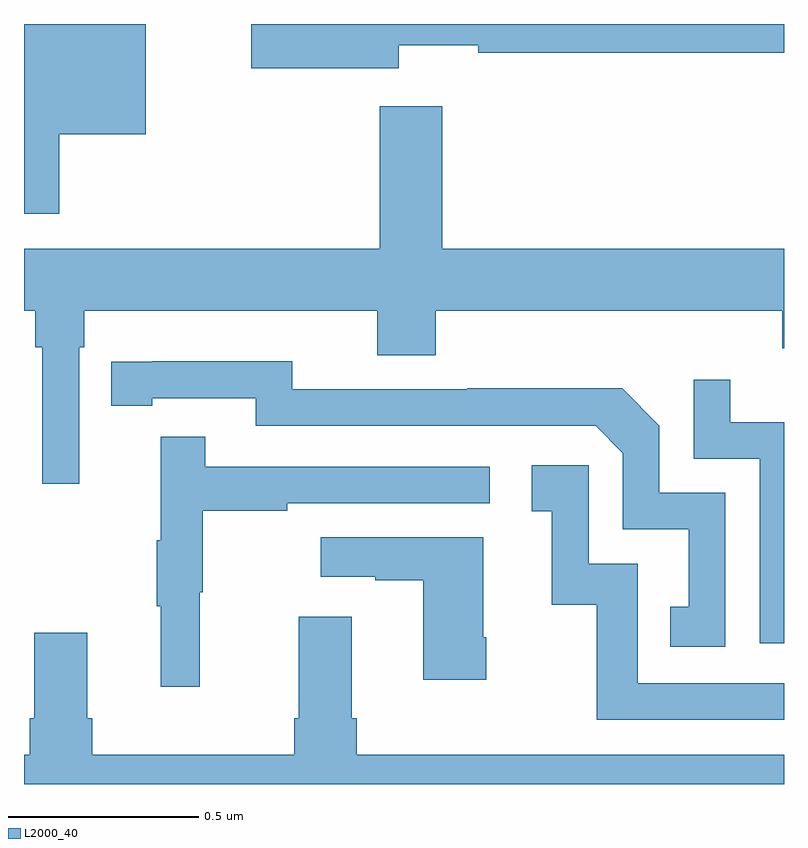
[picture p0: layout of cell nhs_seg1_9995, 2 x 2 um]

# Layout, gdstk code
import gdstk
lib = gdstk.Library(unit=1e-6, precision=1e-09)
def P(c, l, *ps):  # polygons
    for p in ps: c.add(gdstk.Polygon(p, *l))
L2000_40 = (2000, 40)

nhs_seg1_9995 = lib.new_cell('nhs_seg1_9995')
P(nhs_seg1_9995, L2000_40, [(236.986,507.143),(237.196,507.143),(237.196,507.124),(238,507.124),(238,507.199),(236.598,507.199),(236.598,507.082),(236.986,507.082)],
  [(236.093,506.909),(236.32,506.909),(236.32,507.199),(236,507.199),(236,506.7),(236.093,506.7)],
  [(236.145,506.348),(236.159,506.348),(236.159,506.444),(236.93,506.444),(236.93,506.327),(237.083,506.327),(237.083,506.444),(237.995,506.444),(237.995,506.346),(238,506.346),(238,506.608),(237.1,506.608),(237.1,506.983),(236.936,506.983),(236.936,506.608),(236,506.608),(236,506.444),(236.029,506.444),(236.029,506.348),(236.048,506.348),(236.048,505.989),(236.145,505.989)],
  [(237.846,505.965),(237.672,505.965),(237.672,506.142),(237.574,506.24),(237.166,506.24),(237.166,506.238),(236.706,506.238),(236.706,506.311),(236.338,506.311),(236.338,506.31),(236.23,506.31),(236.23,506.194),(236.338,506.194),(236.338,506.214),(236.61,506.214),(236.61,506.142),(237.504,506.142),(237.576,506.07),(237.576,505.869),(237.749,505.869),(237.749,505.665),(237.7,505.665),(237.7,505.56),(237.846,505.56)],
  [(238,506.151),(237.859,506.151),(237.859,506.263),(237.762,506.263),(237.762,506.055),(237.936,506.055),(237.936,505.569),(238,505.569)],
  [(236.462,505.704),(236.47,505.704),(236.47,505.918),(236.693,505.918),(236.693,505.938),(237.226,505.938),(237.226,506.034),(236.477,506.034),(236.477,506.113),(236.36,506.113),(236.36,505.841),(236.349,505.841),(236.349,505.667),(236.36,505.667),(236.36,505.455),(236.462,505.455)],
  [(238,505.464),(237.615,505.464),(237.615,505.779),(237.486,505.779),(237.486,506.038),(237.336,506.038),(237.336,505.917),(237.389,505.917),(237.389,505.671),(237.507,505.671),(237.507,505.368),(238,505.368)],
  [(237.216,505.585),(237.208,505.585),(237.208,505.849),(236.781,505.849),(236.781,505.745),(236.924,505.745),(236.924,505.735),(237.05,505.735),(237.05,505.473),(237.216,505.473)],
  [(238,505.276),(236.876,505.276),(236.876,505.372),(236.863,505.372),(236.863,505.639),(236.723,505.639),(236.723,505.372),(236.711,505.372),(236.711,505.276),(236.18,505.276),(236.18,505.372),(236.167,505.372),(236.167,505.597),(236.027,505.597),(236.027,505.372),(236.015,505.372),(236.015,505.276),(236,505.276),(236,505.199),(238,505.199)])

lib.write_gds('nhs_seg1_9995.gds')
